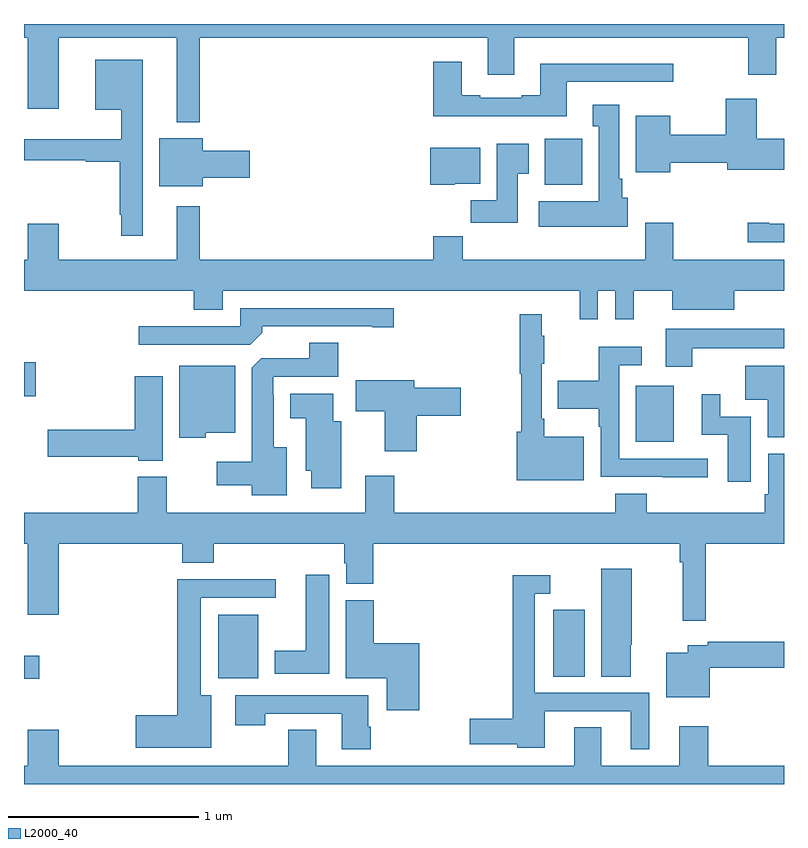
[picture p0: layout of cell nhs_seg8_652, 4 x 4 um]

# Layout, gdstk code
import gdstk
lib = gdstk.Library(unit=1e-6, precision=1e-09)
def R(c, l, rs):  # rectangles x0, y0, x1, y1
    for r in rs: c.add(gdstk.rectangle(r[:2], r[2:], *l))
def P(c, l, *ps):  # polygons
    for p in ps: c.add(gdstk.Polygon(p, *l))
L2000_40 = (2000, 40)

nhs_seg8_652 = lib.new_cell('nhs_seg8_652')
R(nhs_seg8_652, L2000_40, [(153,1118.453,153.079,1118.575), (154.022,1118.456,154.234,1118.791), (155.786,1118.464,155.95,1118.818), (156.221,1119.701,156.421,1119.997), (153,1119.941,153.061,1120.119), (155.741,1121.054,155.938,1121.296)])
P(nhs_seg8_652, L2000_40, [(153.925,1121.828),(155.441,1121.828),(155.441,1121.634),(155.581,1121.634),(155.581,1121.828),(156.811,1121.828),(156.811,1121.634),(156.958,1121.634),(156.958,1121.828),(157,1121.828),(157,1121.9),(153,1121.9),(153,1121.828),(153.02,1121.828),(153.02,1121.454),(153.184,1121.454),(153.184,1121.828),(153.803,1121.828),(153.803,1121.384),(153.925,1121.384)],
  [(153.625,1121.713),(153.374,1121.713),(153.374,1121.45),(153.511,1121.45),(153.511,1121.293),(153,1121.293),(153,1121.184),(153.325,1121.184),(153.325,1121.176),(153.504,1121.176),(153.504,1120.897),(153.511,1120.897),(153.511,1120.785),(153.625,1120.785)],
  [(155.857,1121.595),(156.418,1121.595),(156.418,1121.692),(155.717,1121.692),(155.717,1121.524),(155.621,1121.524),(155.621,1121.511),(155.401,1121.511),(155.401,1121.524),(155.305,1121.524),(155.305,1121.701),(155.153,1121.701),(155.153,1121.414),(155.857,1121.414)],
  [(156.4,1121.171),(156.701,1121.171),(156.701,1121.132),(157,1121.132),(157,1121.295),(156.856,1121.295),(156.856,1121.506),(156.694,1121.506),(156.694,1121.318),(156.4,1121.318),(156.4,1121.416),(156.221,1121.416),(156.221,1121.12),(156.4,1121.12)],
  [(156.178,1120.986),(156.148,1120.986),(156.148,1121.086),(156.133,1121.086),(156.133,1121.476),(155.993,1121.476),(155.993,1121.363),(156.026,1121.363),(156.026,1120.966),(155.709,1120.966),(155.709,1120.832),(156.178,1120.832)],
  [(153.94,1121.092),(154.189,1121.092),(154.189,1121.234),(153.94,1121.234),(153.94,1121.299),(153.713,1121.299),(153.713,1121.045),(153.94,1121.045)],
  [(155.599,1121.113),(155.656,1121.113),(155.656,1121.269),(155.489,1121.269),(155.489,1120.972),(155.35,1120.972),(155.35,1120.854),(155.599,1120.854)],
  [(155.268,1121.06),(155.401,1121.06),(155.401,1121.248),(155.138,1121.248),(155.138,1121.054),(155.268,1121.054)],
  [(156.021,1120.496),(156.111,1120.496),(156.111,1120.347),(156.209,1120.347),(156.209,1120.496),(156.413,1120.496),(156.413,1120.397),(156.739,1120.397),(156.739,1120.496),(157,1120.496),(157,1120.66),(156.417,1120.66),(156.417,1120.855),(156.269,1120.855),(156.269,1120.66),(155.309,1120.66),(155.309,1120.784),(155.153,1120.784),(155.153,1120.66),(153.925,1120.66),(153.925,1120.942),(153.803,1120.942),(153.803,1120.66),(153.184,1120.66),(153.184,1120.849),(153.02,1120.849),(153.02,1120.66),(153,1120.66),(153,1120.496),(153.893,1120.496),(153.893,1120.397),(154.045,1120.397),(154.045,1120.496),(155.924,1120.496),(155.924,1120.347),(156.021,1120.347)],
  [(157,1120.848),(156.922,1120.848),(156.922,1120.853),(156.81,1120.853),(156.81,1120.752),(157,1120.752)],
  [(154.253,1120.274),(154.253,1120.308),(154.832,1120.308),(154.832,1120.303),(154.945,1120.303),(154.945,1120.404),(154.137,1120.404),(154.137,1120.308),(153.603,1120.308),(153.603,1120.212),(154.191,1120.212)],
  [(155.947,1119.727),(155.737,1119.727),(155.737,1119.823),(155.724,1119.823),(155.724,1120.111),(155.737,1120.111),(155.737,1120.259),(155.726,1120.259),(155.726,1120.372),(155.608,1120.372),(155.608,1120.059),(155.616,1120.059),(155.616,1119.754),(155.594,1119.754),(155.594,1119.5),(155.947,1119.5)],
  [(156.517,1120.193),(157,1120.193),(157,1120.297),(156.377,1120.297),(156.377,1120.095),(156.517,1120.095)],
  [(154.384,1119.673),(154.315,1119.673),(154.315,1119.947),(154.311,1119.947),(154.311,1120.044),(154.655,1120.044),(154.655,1120.223),(154.502,1120.223),(154.502,1120.14),(154.248,1120.14),(154.199,1120.091),(154.199,1119.595),(154.014,1119.595),(154.014,1119.473),(154.199,1119.473),(154.199,1119.419),(154.384,1119.419)],
  [(156.598,1119.612),(156.132,1119.612),(156.132,1120.104),(156.25,1120.104),(156.25,1120.201),(156.024,1120.201),(156.024,1120.023),(155.809,1120.023),(155.809,1119.875),(156.024,1119.875),(156.024,1119.779),(156.036,1119.779),(156.036,1119.516),(156.361,1119.516),(156.361,1119.515),(156.598,1119.515)],
  [(157,1120.102),(156.797,1120.102),(156.797,1119.923),(156.914,1119.923),(156.914,1119.726),(157,1119.726)],
  [(153.957,1119.749),(154.111,1119.749),(154.111,1120.102),(153.818,1120.102),(153.818,1119.722),(153.957,1119.722)],
  [(153.73,1120.045),(153.584,1120.045),(153.584,1119.764),(153.126,1119.764),(153.126,1119.622),(153.6,1119.622),(153.6,1119.602),(153.73,1119.602)],
  [(155.066,1119.839),(155.299,1119.839),(155.299,1119.986),(155.053,1119.986),(155.053,1120.024),(154.746,1120.024),(154.746,1119.862),(154.898,1119.862),(154.898,1119.651),(155.066,1119.651)],
  [(154.669,1119.808),(154.627,1119.808),(154.627,1119.955),(154.4,1119.955),(154.4,1119.824),(154.484,1119.824),(154.484,1119.549),(154.511,1119.549),(154.511,1119.456),(154.669,1119.456)],
  [(156.826,1119.834),(156.664,1119.834),(156.664,1119.952),(156.566,1119.952),(156.566,1119.738),(156.704,1119.738),(156.704,1119.492),(156.826,1119.492)],
  [(156.587,1119.164),(157,1119.164),(157,1119.637),(156.918,1119.637),(156.918,1119.424),(156.898,1119.424),(156.898,1119.328),(156.278,1119.328),(156.278,1119.427),(156.113,1119.427),(156.113,1119.328),(154.949,1119.328),(154.949,1119.523),(154.796,1119.523),(154.796,1119.328),(153.751,1119.328),(153.751,1119.517),(153.599,1119.517),(153.599,1119.328),(153,1119.328),(153,1119.164),(153.02,1119.164),(153.02,1118.79),(153.184,1118.79),(153.184,1119.164),(153.833,1119.164),(153.833,1119.065),(153.998,1119.065),(153.998,1119.164),(154.685,1119.164),(154.685,1119.063),(154.697,1119.063),(154.697,1118.953),(154.838,1118.953),(154.838,1119.164),(156.451,1119.164),(156.451,1119.068),(156.466,1119.068),(156.466,1118.76),(156.587,1118.76)],
  [(156.193,1118.634),(156.199,1118.634),(156.199,1119.034),(156.038,1119.034),(156.038,1118.464),(156.193,1118.464)],
  [(154.606,1119.001),(154.484,1119.001),(154.484,1118.602),(154.319,1118.602),(154.319,1118.48),(154.606,1118.48)],
  [(156.292,1118.379),(155.688,1118.379),(155.688,1118.901),(155.77,1118.901),(155.77,1118.998),(155.572,1118.998),(155.572,1118.243),(155.346,1118.243),(155.346,1118.108),(155.595,1118.108),(155.595,1118.09),(155.74,1118.09),(155.74,1118.283),(156.194,1118.283),(156.194,1118.082),(156.292,1118.082)],
  [(153.985,1118.368),(153.931,1118.368),(153.931,1118.88),(154.324,1118.88),(154.324,1118.978),(153.806,1118.978),(153.806,1118.261),(153.588,1118.261),(153.588,1118.09),(153.985,1118.09)],
  [(155.081,1118.641),(154.841,1118.641),(154.841,1118.868),(154.694,1118.868),(154.694,1118.456),(154.91,1118.456),(154.91,1118.289),(155.081,1118.289)],
  [(156.61,1118.512),(157,1118.512),(157,1118.648),(156.598,1118.648),(156.598,1118.629),(156.494,1118.629),(156.494,1118.59),(156.38,1118.59),(156.38,1118.357),(156.61,1118.357)],
  [(154.826,1118.201),(154.813,1118.201),(154.813,1118.367),(154.113,1118.367),(154.113,1118.208),(154.269,1118.208),(154.269,1118.271),(154.673,1118.271),(154.673,1118.082),(154.826,1118.082)],
  [(157,1117.996),(156.602,1117.996),(156.602,1118.203),(156.449,1118.203),(156.449,1117.996),(156.037,1117.996),(156.037,1118.198),(155.897,1118.198),(155.897,1117.996),(154.537,1117.996),(154.537,1118.186),(154.39,1118.186),(154.39,1117.996),(153.184,1117.996),(153.184,1118.185),(153.02,1118.185),(153.02,1117.996),(153,1117.996),(153,1117.9),(157,1117.9)])

lib.write_gds('nhs_seg8_652.gds')
